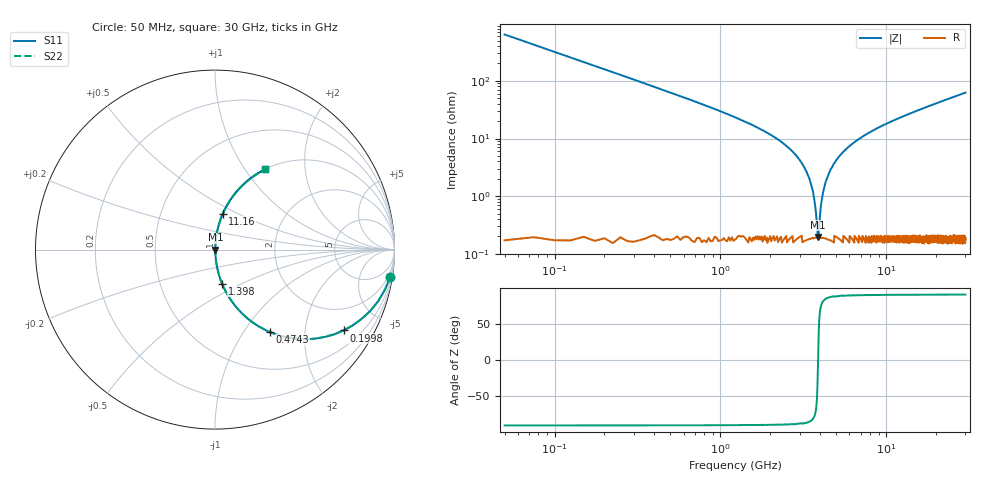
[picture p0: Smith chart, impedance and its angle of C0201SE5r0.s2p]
!	AVX Thin Film Operation 	Date: April 2014
!	Description: Accu-P® Series, Thin Film  SMD RF Capacitor
!	Part Number: 02013K5R0ABSTR
# MHZ S MA R 50
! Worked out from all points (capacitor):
!   1201 points, 50 MHz to 30 GHz, reference 50 ohm
!   read as one part in series: C = 5 pF near 199.8 MHz
!   lowest |Z| = 197 mohm at 3.869 GHz (marker M1)
!   series resonance near 3.88 GHz, so ESL is about 340 pH
!   S11 on the Smith chart (normalised r, x): 50 MHz: 1, -13; 199.8 MHz: 1.00, -3.18; 474.3 MHz: 1.00, -1.32; 1.398 GHz: 1.00, -0.40; 11.16 GHz: 1.00, +0.42; 30 GHz: 1.00, +1.25
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50  0.988 -8.9  0.155 81.1  0.155 81.1  0.988 -8.9
199.75  0.846 -32.2  0.532 57.8  0.532 57.8  0.846 -32.2
299.583  0.726 -43.4  0.687 46.5  0.687 46.5  0.726 -43.4
474.292  0.551 -56.4  0.833 33.4  0.833 33.4  0.551 -56.4
823.708  0.346 -69.5  0.937 20.2  0.937 20.2  0.346 -69.5
1397.75  0.194 -78.3  0.979 11.2  0.979 11.2  0.194 -78.3
2545.833  0.071 -84.5  0.996 4.1  0.996 4.1  0.071 -84.5
3169.792  0.033 -85.0  0.998 1.9  0.998 1.9  0.033 -85.0
3519.208  0.016 -82.6  0.998 0.9  0.998 0.9  0.016 -82.6
3768.792  0.005095 -69.0  0.998 0.3  0.998 0.3  0.005095 -69.0
3868.625  0.00187 -14.9  0.998 0.0  0.998 0.0  0.00187 -14.9
3968.458  0.004111 63.7  0.998 -0.2  0.998 -0.2  0.004111 63.7
4143.167  0.011 79.8  0.998 -0.6  0.998 -0.6  0.011 79.8
4342.833  0.019 83.4  0.998 -1.1  0.998 -1.1  0.019 83.4
5041.667  0.043 85.1  0.997 -2.5  0.997 -2.5  0.043 85.1
6888.583  0.099 83.3  0.993 -5.7  0.993 -5.7  0.099 83.3
10058.29  0.178 79.2  0.982 -10.2  0.982 -10.2  0.178 79.2
11156.46  0.203 77.8  0.977 -11.7  0.977 -11.7  0.203 77.8
15025  0.284 73.2  0.957 -16.5  0.957 -16.5  0.284 73.2
20016.67  0.377 67.6  0.925 -22.1  0.925 -22.1  0.377 67.6
25033.29  0.458 62.5  0.887 -27.3  0.887 -27.3  0.458 62.5
30000  0.529 57.9  0.847 -31.9  0.847 -31.9  0.529 57.9
